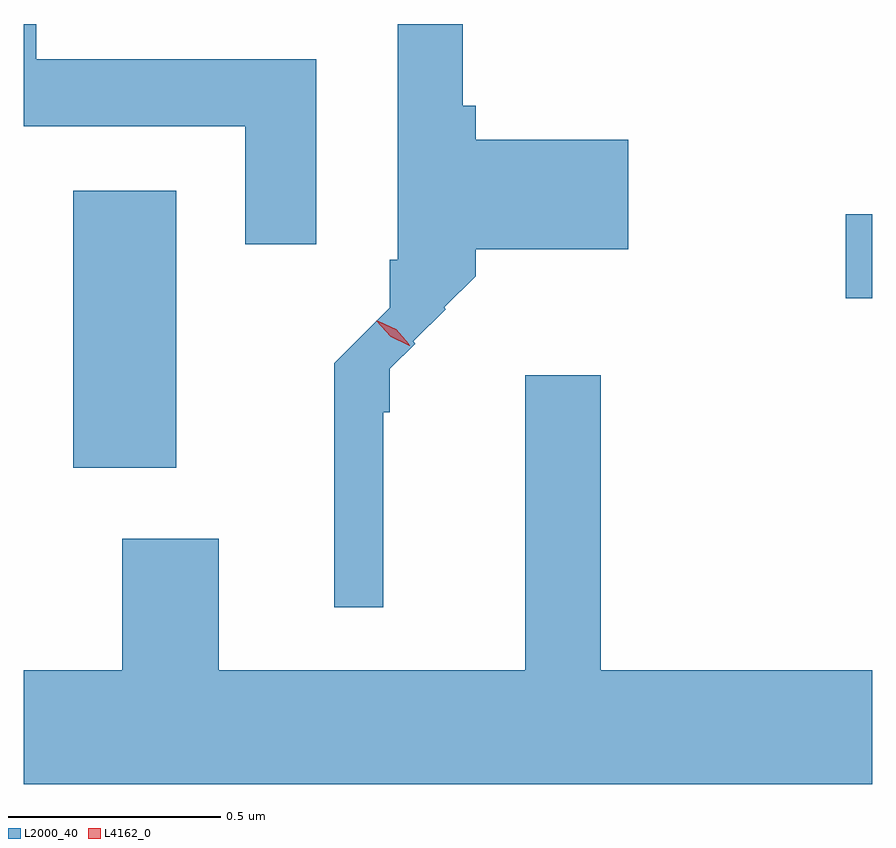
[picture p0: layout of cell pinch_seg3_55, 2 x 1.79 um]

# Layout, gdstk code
import gdstk
lib = gdstk.Library(unit=1e-6, precision=1e-09)
def R(c, l, rs):  # rectangles x0, y0, x1, y1
    for r in rs: c.add(gdstk.rectangle(r[:2], r[2:], *l))
def P(c, l, *ps):  # polygons
    for p in ps: c.add(gdstk.Polygon(p, *l))
L2000_40 = (2000, 40)
L4162_0 = (4162, 0)

pinch_seg3_55 = lib.new_cell('pinch_seg3_55')
R(pinch_seg3_55, L2000_40, [(1131.786,1177.821,1132.029,1178.474), (1133.606,1178.221,1133.669,1178.419)])
P(pinch_seg3_55, L2000_40, [(1132.516,1177.952),(1132.532,1177.952),(1132.532,1178.055),(1132.592,1178.114),(1132.587,1178.119),(1132.664,1178.195),(1132.66,1178.199),(1132.734,1178.273),(1132.734,1178.336),(1133.094,1178.336),(1133.094,1178.594),(1132.734,1178.594),(1132.734,1178.674),(1132.704,1178.674),(1132.704,1178.867),(1132.55,1178.867),(1132.55,1178.312),(1132.532,1178.312),(1132.532,1178.198),(1132.401,1178.068),(1132.401,1177.493),(1132.516,1177.493)],
  [(1132.359,1178.784),(1131.699,1178.784),(1131.699,1178.867),(1131.669,1178.867),(1131.669,1178.626),(1132.191,1178.626),(1132.191,1178.348),(1132.359,1178.348)],
  [(1133.669,1177.344),(1133.029,1177.344),(1133.029,1178.039),(1132.851,1178.039),(1132.851,1177.344),(1132.129,1177.344),(1132.129,1177.654),(1131.901,1177.654),(1131.901,1177.344),(1131.669,1177.344),(1131.669,1177.076),(1133.669,1177.076)])
P(pinch_seg3_55, L4162_0, [(1132.578,1178.109),(1132.534,1178.13),(1132.5,1178.168),(1132.5,1178.168),(1132.501,1178.168),(1132.546,1178.146),(1132.579,1178.11),(1132.579,1178.109)],
  [(1132.576,1178.114),(1132.535,1178.132),(1132.505,1178.166),(1132.505,1178.166),(1132.506,1178.166),(1132.547,1178.148),(1132.577,1178.114),(1132.577,1178.114)])

lib.write_gds('pinch_seg3_55.gds')
